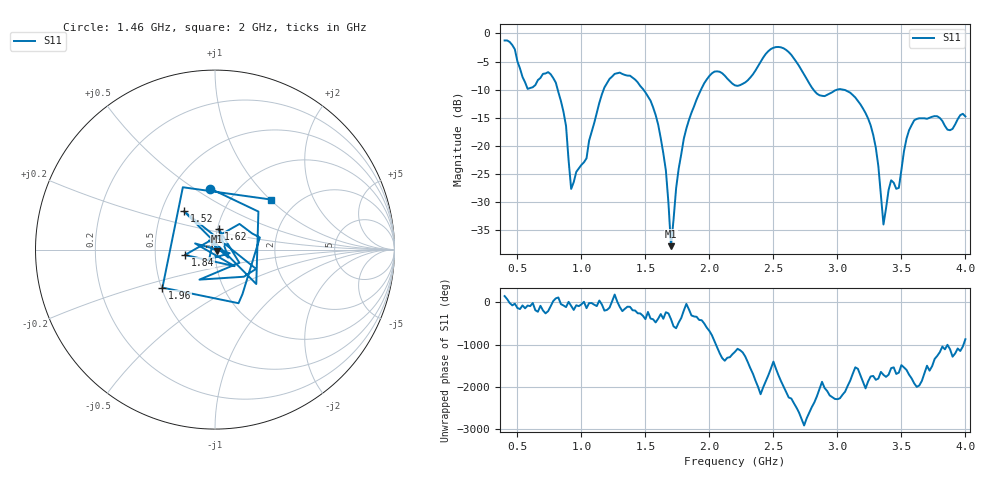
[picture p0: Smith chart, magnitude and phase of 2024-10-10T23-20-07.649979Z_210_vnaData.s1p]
! Created with skrf (http://scikit-rf.org).
# Hz S RI R 50.0
!freq ReS11 ImS11
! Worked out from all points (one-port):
!   181 points, 400 MHz to 4 GHz, reference 50 ohm
!   lowest |S11| = -37.8 dB at 1.7 GHz (marker M1), VSWR 1.03, Z = 51 - j0.878 ohm
!   |S11| at or under -10 dB: 814.9 MHz to 1.173 GHz (358.6 MHz wide, 36.1 % of centre); 1.485 GHz to 1.934 GHz (449.8 MHz wide, 26.3 % of centre); 3.045 GHz to end of sweep (the widest 3 of 4)
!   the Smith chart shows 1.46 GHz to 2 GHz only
!   S11 on the Smith chart (normalised r, x): 1.46 GHz: 0.76, +0.58; 1.52 GHz: 0.65, +0.30; 1.62 GHz: 1.01, +0.24; 1.84 GHz: 0.71, -0.04; 1.96 GHz: 0.51, -0.25; 2 GHz: 1.50, +1.01
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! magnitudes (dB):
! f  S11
! 400 MHz  -1.3
! 580 MHz  -9.9
! 760 MHz  -7.3
! 860 MHz  -13.9
! 920 MHz  -27.6
! 1.04 GHz  -22.2
! 1.18 GHz  -9.6
! 1.3 GHz  -7.0
! 1.46 GHz  -9.4
! 1.52 GHz  -11.2
! 1.62 GHz  -18.6
! 1.66 GHz  -24.4
! 1.7 GHz  -37.8
! 1.76 GHz  -24.0
! 1.84 GHz  -15.4
! 1.96 GHz  -8.8
! 2 GHz  -7.6
! 2.2 GHz  -9.2
! 2.5 GHz  -2.6
! 2.66 GHz  -4.4
! 2.86 GHz  -11.0
! 3.1 GHz  -10.5
! 3.28 GHz  -18.1
! 3.36 GHz  -33.9
! 3.42 GHz  -26.1
! 3.48 GHz  -27.4
! 3.56 GHz  -17.2
! 4 GHz  -14.8
